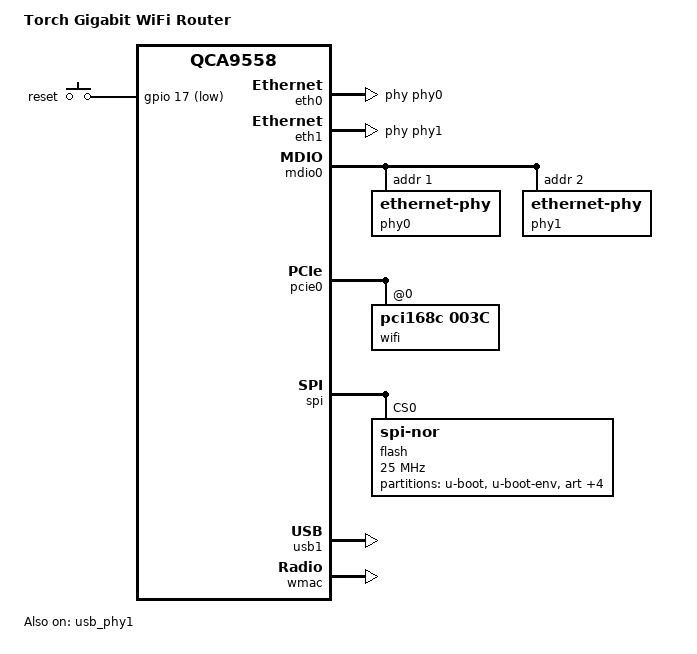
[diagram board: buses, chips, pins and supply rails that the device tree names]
// SPDX-License-Identifier: GPL-2.0-or-later OR MIT

#include "qca955x.dtsi"

#include <dt-bindings/gpio/gpio.h>
#include <dt-bindings/input/input.h>

/ {
	model = "Torch Gigabit WiFi Router";
	compatible = "torch,torch", "qca,qca9558";

	keys {
		compatible = "gpio-keys";

		reset {
			label = "reset";
			linux,code = <KEY_RESTART>;
			gpios = <&gpio 17 GPIO_ACTIVE_LOW>;
			debounce-interval = <60>;
		};
	};
};

&eth0 {
	status = "okay";

	phy-handle = <&phy0>;
	pll-data = <0x82000101 0x80000101 0x80001313>;
};

&eth1 {
	status = "okay";

	phy-handle = <&phy1>;
	pll-data = <0x03000101 0x80000101 0x80001313>;
};

&mdio0 {
	status = "okay";

	phy0: ethernet-phy@1 {
		reg = <1>;

		qca,ar8327-initvals = <
			0x04 0x87600000 /* PORT0 PAD MODE CTRL */
			0x7c 0x0000007e /* PORT0_STATUS */
			>;
	};

	phy1: ethernet-phy@2 {
		reg = <2>;

		qca,ar8327-initvals = <
			0x04 0x87600000 /* PORT1 PAD MODE CTRL */
			0x7c 0x0000007e /* PORT1_STATUS */
			>;
	};
};

&pcie0 {
	status = "okay";

	wifi@0,0 {
		compatible = "pci168c,003c";
		reg = <0x0000 0 0 0 0>;
	};
};

&spi {
	status = "okay";

	flash@0 {
		compatible = "jedec,spi-nor";
		reg = <0>;
		spi-max-frequency = <25000000>;

		partitions {
			compatible = "fixed-partitions";
			#address-cells = <1>;
			#size-cells = <1>;

			partition@0 {
				label = "u-boot";
				reg = <0x000000 0x040000>;
				read-only;
			};

			partition@40000 {
				label = "u-boot-env";
				reg = <0x040000 0x010000>;
				read-only;
			};

			partition@50000 {
				label = "art";
				reg = <0x50000 0x010000>;
				read-only;
			};

			partition@60000 {
				compatible = "denx,uimage";
				label = "firmware";
				reg = <0x060000 0xe50000>;
			};

			partition@eb0000 {
				label = "manufacture";
				reg = <0xeb0000 0x100000>;
				read-only;
			};

			partition@fb0000 {
				label = "backup";
				reg = <0xfb0000 0x010000>;
				read-only;
			};

			partition@fc0000 {
				label = "storage";
				reg = <0xfc0000 0x040000>;
				read-only;
			};
		};
	};
};

&usb_phy1 {
	status = "okay";
};

&usb1 {
	status = "okay";
};

&wmac {
	status = "okay";

	qca,no-eeprom;
};
